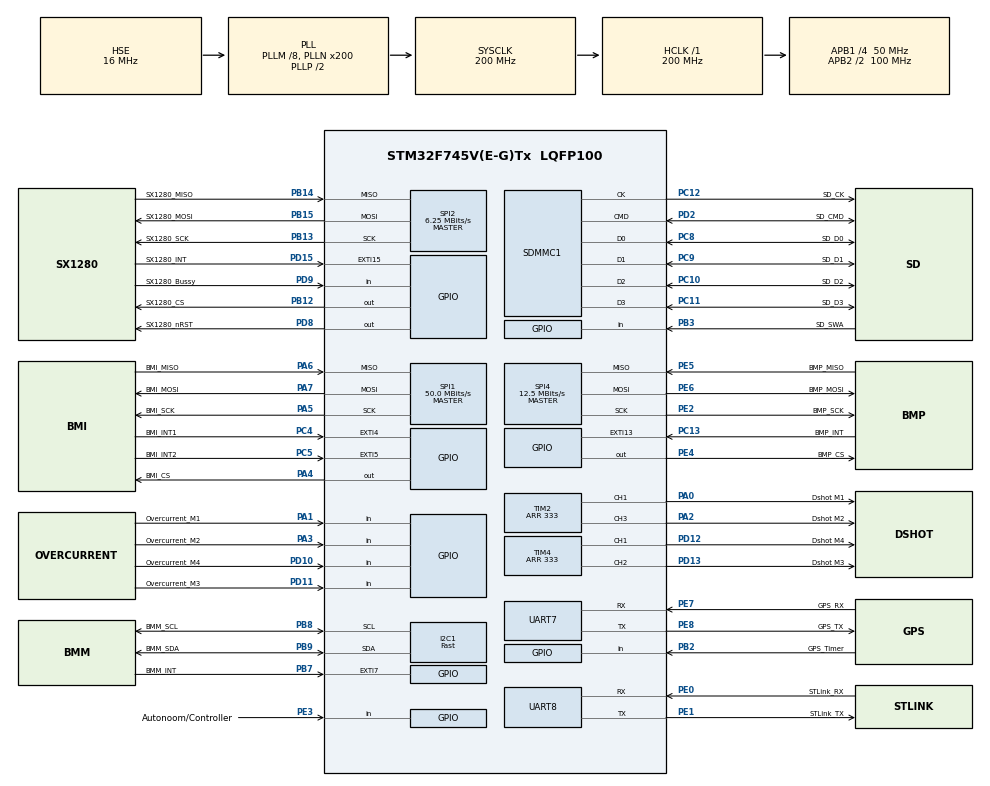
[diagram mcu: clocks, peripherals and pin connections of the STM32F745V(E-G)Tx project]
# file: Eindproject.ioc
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CORTEX_M7.default_mode_Activation=1
Dma.Request0=TIM4_CH1
Dma.Request1=TIM4_CH2
Dma.Request2=TIM2_UP/CH3
Dma.Request3=TIM2_CH1
Dma.TIM2_CH1.3.Direction=DMA_MEMORY_TO_PERIPH
Dma.TIM2_CH1.3.FIFOMode=DMA_FIFOMODE_DISABLE
Dma.TIM2_CH1.3.Instance=DMA1_Stream5
Dma.TIM2_CH1.3.MemDataAlignment=DMA_MDATAALIGN_WORD
Dma.TIM2_CH1.3.MemInc=DMA_MINC_ENABLE
Dma.TIM2_CH1.3.Mode=DMA_NORMAL
Dma.TIM2_CH1.3.PeriphDataAlignment=DMA_PDATAALIGN_WORD
Dma.TIM2_CH1.3.PeriphInc=DMA_PINC_DISABLE
Dma.TIM2_CH1.3.Priority=DMA_PRIORITY_VERY_HIGH
Dma.TIM2_UP/CH3.2.Direction=DMA_MEMORY_TO_PERIPH
Dma.TIM2_UP/CH3.2.FIFOMode=DMA_FIFOMODE_DISABLE
Dma.TIM2_UP/CH3.2.Instance=DMA1_Stream1
Dma.TIM2_UP/CH3.2.MemDataAlignment=DMA_MDATAALIGN_WORD
Dma.TIM2_UP/CH3.2.MemInc=DMA_MINC_ENABLE
Dma.TIM2_UP/CH3.2.Mode=DMA_NORMAL
Dma.TIM2_UP/CH3.2.PeriphDataAlignment=DMA_PDATAALIGN_WORD
Dma.TIM2_UP/CH3.2.PeriphInc=DMA_PINC_DISABLE
Dma.TIM2_UP/CH3.2.Priority=DMA_PRIORITY_VERY_HIGH
Dma.TIM4_CH1.0.Direction=DMA_MEMORY_TO_PERIPH
Dma.TIM4_CH1.0.FIFOMode=DMA_FIFOMODE_DISABLE
Dma.TIM4_CH1.0.Instance=DMA1_Stream0
Dma.TIM4_CH1.0.MemDataAlignment=DMA_MDATAALIGN_HALFWORD
Dma.TIM4_CH1.0.MemInc=DMA_MINC_ENABLE
Dma.TIM4_CH1.0.Mode=DMA_NORMAL
Dma.TIM4_CH1.0.PeriphDataAlignment=DMA_PDATAALIGN_HALFWORD
Dma.TIM4_CH1.0.PeriphInc=DMA_PINC_DISABLE
Dma.TIM4_CH1.0.Priority=DMA_PRIORITY_VERY_HIGH
Dma.TIM4_CH2.1.Direction=DMA_MEMORY_TO_PERIPH
Dma.TIM4_CH2.1.FIFOMode=DMA_FIFOMODE_DISABLE
Dma.TIM4_CH2.1.Instance=DMA1_Stream3
Dma.TIM4_CH2.1.MemDataAlignment=DMA_MDATAALIGN_HALFWORD
Dma.TIM4_CH2.1.MemInc=DMA_MINC_ENABLE
Dma.TIM4_CH2.1.Mode=DMA_NORMAL
Dma.TIM4_CH2.1.PeriphDataAlignment=DMA_PDATAALIGN_HALFWORD
Dma.TIM4_CH2.1.PeriphInc=DMA_PINC_DISABLE
Dma.TIM4_CH2.1.Priority=DMA_PRIORITY_VERY_HIGH
FATFS.BSP.number=1
FATFS0.BSP.STBoard=false
FATFS0.BSP.api=Unknown
FATFS0.BSP.instance=PB3
FATFS0.BSP.ip=GPIO
FATFS0.BSP.mode=Input
FATFS0.BSP.name=Detect_SDIO
FATFS0.BSP.solution=PB3
I2C1.I2C_Speed_Mode=I2C_Fast
I2C1.Timing=0x00401959
Mcu.Family=STM32F7
Mcu.Name=STM32F745V(E-G)Tx
Mcu.Package=LQFP100
NVIC.DMA1_Stream0_IRQn=true\:0\:0\:false\:false\:true\:false\:true\:true
NVIC.DMA1_Stream1_IRQn=true\:0\:0\:false\:false\:true\:false\:true\:true
NVIC.DMA1_Stream3_IRQn=true\:0\:0\:false\:false\:true\:false\:true\:true
NVIC.DMA1_Stream5_IRQn=true\:0\:0\:false\:false\:true\:false\:true\:true
NVIC.EXTI15_10_IRQn=true\:0\:0\:false\:false\:true\:true\:true\:true
NVIC.EXTI4_IRQn=true\:3\:0\:true\:false\:true\:true\:true\:true
NVIC.EXTI9_5_IRQn=true\:3\:0\:true\:false\:true\:true\:true\:true
NVIC.PriorityGroup=NVIC_PRIORITYGROUP_4
PA0/WKUP.GPIO_Label=Dshot M1
PA0/WKUP.Signal=S_TIM2_CH1_ETR
PA1.GPIO_Label=Overcurrent_M1
PA1.Signal=GPIO_Input
PA13.GPIO_Label=STLink_DIO
PA13.Mode=Serial_Wire
PA13.Signal=SYS_JTMS-SWDIO
PA14.GPIO_Label=STLink_CLK
PA14.Mode=Serial_Wire
PA14.Signal=SYS_JTCK-SWCLK
PA2.GPIO_Label=Dshot M2
PA2.Signal=S_TIM2_CH3
PA3.GPIO_Label=Overcurrent_M2
PA3.Signal=GPIO_Input
PA4.GPIO_Label=BMI_CS
PA4.Signal=GPIO_Output
PA5.GPIO_Label=BMI_SCK
PA5.Mode=Full_Duplex_Master
PA5.Signal=SPI1_SCK
PA6.GPIO_Label=BMI_MISO
PA6.Mode=Full_Duplex_Master
PA6.Signal=SPI1_MISO
PA7.GPIO_Label=BMI_MOSI
PA7.Mode=Full_Duplex_Master
PA7.Signal=SPI1_MOSI
PB12.GPIO_Label=SX1280_CS
PB12.Signal=GPIO_Output
PB13.GPIO_Label=SX1280_SCK
PB13.Mode=Full_Duplex_Master
PB13.Signal=SPI2_SCK
PB14.GPIO_Label=SX1280_MISO
PB14.Mode=Full_Duplex_Master
PB14.Signal=SPI2_MISO
PB15.GPIO_Label=SX1280_MOSI
PB15.Mode=Full_Duplex_Master
PB15.Signal=SPI2_MOSI
PB2.GPIO_Label=GPS_Timer
PB2.Signal=GPIO_Input
PB3.GPIO_Label=SD_SWA
PB3.Signal=GPIO_Input
PB7.GPIO_Label=BMM_INT
PB7.Signal=GPXTI7
PB8.GPIO_Label=BMM_SCL
PB8.Mode=I2C
PB8.Signal=I2C1_SCL
PB9.GPIO_Label=BMM_SDA
PB9.Mode=I2C
PB9.Signal=I2C1_SDA
PC10.GPIO_Label=SD_D2
PC10.Mode=SD_4_bits_Wide_bus
PC10.Signal=SDMMC1_D2
PC11.GPIO_Label=SD_D3
PC11.Mode=SD_4_bits_Wide_bus
PC11.Signal=SDMMC1_D3
PC12.GPIO_Label=SD_CK
PC12.Mode=SD_4_bits_Wide_bus
PC12.Signal=SDMMC1_CK
PC13.GPIO_Label=BMP_INT
PC13.Signal=GPXTI13
PC4.GPIO_Label=BMI_INT1
PC4.Signal=GPXTI4
PC5.GPIO_Label=BMI_INT2
PC5.Signal=GPXTI5
PC8.GPIO_Label=SD_D0
PC8.Mode=SD_4_bits_Wide_bus
PC8.Signal=SDMMC1_D0
PC9.GPIO_Label=SD_D1
PC9.Mode=SD_4_bits_Wide_bus
PC9.Signal=SDMMC1_D1
PD10.GPIO_Label=Overcurrent_M4
PD10.Signal=GPIO_Input
PD11.GPIO_Label=Overcurrent_M3
PD11.Signal=GPIO_Input
PD12.GPIO_Label=Dshot M4
PD12.Signal=S_TIM4_CH1
PD13.GPIO_Label=Dshot M3
PD13.Signal=S_TIM4_CH2
PD15.GPIO_Label=SX1280_INT
PD15.Signal=GPXTI15
PD2.GPIO_Label=SD_CMD
PD2.Mode=SD_4_bits_Wide_bus
PD2.Signal=SDMMC1_CMD
PD8.GPIO_Label=SX1280_nRST
PD8.Signal=GPIO_Output
PD9.GPIO_Label=SX1280_Bussy
PD9.Signal=GPIO_Input
PE0.GPIO_Label=STLink_RX
PE0.Mode=Asynchronous
PE0.Signal=UART8_RX
PE1.GPIO_Label=STLink_TX
PE1.Mode=Asynchronous
PE1.Signal=UART8_TX
PE2.GPIO_Label=BMP_SCK
PE2.Mode=Full_Duplex_Master
PE2.Signal=SPI4_SCK
PE3.GPIO_Label=Autonoom/Controller
PE3.Signal=GPIO_Input
PE4.GPIO_Label=BMP_CS
PE4.Signal=GPIO_Output
PE5.GPIO_Label=BMP_MISO
PE5.Mode=Full_Duplex_Master
PE5.Signal=SPI4_MISO
PE6.GPIO_Label=BMP_MOSI
PE6.Mode=Full_Duplex_Master
PE6.Signal=SPI4_MOSI
PE7.GPIO_Label=GPS_RX
PE7.Mode=Asynchronous
PE7.Signal=UART7_RX
PE8.GPIO_Label=GPS_TX
PE8.Mode=Asynchronous
PE8.Signal=UART7_TX
PH0/OSC_IN.Mode=HSE-External-Oscillator
PH0/OSC_IN.Signal=RCC_OSC_IN
PH1/OSC_OUT.Mode=HSE-External-Oscillator
PH1/OSC_OUT.Signal=RCC_OSC_OUT
ProjectManager.HeapSize=0x200
ProjectManager.StackSize=0x400
ProjectManager.TargetToolchain=STM32CubeIDE
RCC.AHBFreq_Value=200000000
RCC.APB1CLKDivider=RCC_HCLK_DIV4
RCC.APB1Freq_Value=50000000
RCC.APB1TimFreq_Value=100000000
RCC.APB2CLKDivider=RCC_HCLK_DIV2
RCC.APB2Freq_Value=100000000
RCC.APB2TimFreq_Value=200000000
RCC.CortexFreq_Value=200000000
RCC.HCLKFreq_Value=200000000
RCC.HSE_VALUE=16000000
RCC.HSI_VALUE=16000000
RCC.LSE_VALUE=32768
RCC.PLLM=8
RCC.PLLN=200
RCC.PLLQ=8
RCC.PLLSourceVirtual=RCC_PLLSOURCE_HSE
RCC.SDMMCClockSelection=RCC_SDMMC1CLKSOURCE_CLK48
RCC.SYSCLKFreq_VALUE=200000000
RCC.SYSCLKSource=RCC_SYSCLKSOURCE_PLLCLK
RCC.USBFreq_Value=50000000
RCC.VCOOutputFreq_Value=400000000
SDMMC1.ClockBypass=SDMMC_CLOCK_BYPASS_DISABLE
SH.S_TIM2_CH1_ETR.0=TIM2_CH1,PWM Generation1 CH1
SH.S_TIM2_CH3.0=TIM2_CH3,PWM Generation3 CH3
SH.S_TIM4_CH1.0=TIM4_CH1,PWM Generation1 CH1
SH.S_TIM4_CH2.0=TIM4_CH2,PWM Generation2 CH2
SPI1.CLKPhase=SPI_PHASE_2EDGE
SPI1.CLKPolarity=SPI_POLARITY_HIGH
SPI1.CalculateBaudRate=50.0 MBits/s
SPI1.DataSize=SPI_DATASIZE_8BIT
SPI1.Direction=SPI_DIRECTION_2LINES
SPI1.Mode=SPI_MODE_MASTER
SPI1.VirtualType=VM_MASTER
SPI2.BaudRatePrescaler=SPI_BAUDRATEPRESCALER_8
SPI2.CalculateBaudRate=6.25 MBits/s
SPI2.DataSize=SPI_DATASIZE_8BIT
SPI2.Direction=SPI_DIRECTION_2LINES
SPI2.Mode=SPI_MODE_MASTER
SPI2.NSSPMode=SPI_NSS_PULSE_DISABLE
SPI2.VirtualType=VM_MASTER
SPI4.BaudRatePrescaler=SPI_BAUDRATEPRESCALER_8
SPI4.CLKPhase=SPI_PHASE_1EDGE
SPI4.CLKPolarity=SPI_POLARITY_LOW
SPI4.CalculateBaudRate=12.5 MBits/s
SPI4.DataSize=SPI_DATASIZE_8BIT
SPI4.Direction=SPI_DIRECTION_2LINES
SPI4.Mode=SPI_MODE_MASTER
SPI4.VirtualType=VM_MASTER
TIM2.Channel-PWM\ Generation1\ CH1=TIM_CHANNEL_1
TIM2.Channel-PWM\ Generation3\ CH3=TIM_CHANNEL_3
TIM2.Period=333
TIM4.Channel-PWM\ Generation1\ CH1=TIM_CHANNEL_1
TIM4.Channel-PWM\ Generation2\ CH2=TIM_CHANNEL_2
TIM4.Period=333
VP_FATFS_VS_SDIO.Mode=SDIO
VP_TIM2_VS_ClockSourceINT.Mode=Internal
VP_TIM4_VS_ClockSourceINT.Mode=Internal
board=custom

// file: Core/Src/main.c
/* USER CODE BEGIN Header */
/**
  ******************************************************************************
  * @file           : main.c
  * @brief          : Main program body
  ******************************************************************************
  * @attention
  *
  * Copyright (c) 2026 STMicroelectronics.
  * All rights reserved.
  *
  * This software is licensed under terms that can be found in the LICENSE file
  * in the root directory of this software component.
  * If no LICENSE file comes with this software, it is provided AS-IS.
  *
  ******************************************************************************
  */
/* USER CODE END Header */
#include "main.h"
#include "fatfs.h"

/* USER CODE BEGIN Includes */
#include "BMI330.h"
#include "Dshot.h"
#include "RC_Math.h"
#include "sx1280.h"
/* USER CODE END Includes */

I2C_HandleTypeDef hi2c1;

SD_HandleTypeDef hsd1;

SPI_HandleTypeDef hspi1;
SPI_HandleTypeDef hspi2;
SPI_HandleTypeDef hspi4;

TIM_HandleTypeDef htim2;
TIM_HandleTypeDef htim4;
DMA_HandleTypeDef hdma_tim2_up_ch3;
DMA_HandleTypeDef hdma_tim2_ch1;
DMA_HandleTypeDef hdma_tim4_ch1;
DMA_HandleTypeDef hdma_tim4_ch2;

UART_HandleTypeDef huart7;
UART_HandleTypeDef huart8;

/* USER CODE BEGIN PV */
PID_Controller pid_roll;
PID_Controller pid_pitch;
PID_Controller pid_yaw;

BMI330_Frame current_data;
float bmi_roll = 0.0f;
float bmi_pitch = 0.0f;

// Loop Timing variabelen
uint32_t previous_micros = 0;
// De 'volatile' tag is cruciaal! Dit vertelt de processor dat deze variabele
// plotseling kan veranderen buiten de hoofdlus om (namelijk door een interrupt).
volatile uint8_t gyro_data_ready = 0;
/* USER CODE END PV */

void SystemClock_Config(void);
static void MPU_Config(void);
static void MX_GPIO_Init(void);
static void MX_DMA_Init(void);
static void MX_I2C1_Init(void);
static void MX_SDMMC1_SD_Init(void);
static void MX_SPI1_Init(void);
static void MX_SPI2_Init(void);
static void MX_SPI4_Init(void);
static void MX_TIM2_Init(void);
static void MX_TIM4_Init(void);
static void MX_UART7_Init(void);
static void MX_UART8_Init(void);

/* USER CODE BEGIN 0 */

int new_gyro_data_available = 0;
/* USER CODE END 0 */

int main(void)
{

  /* MPU Configuration--------------------------------------------------------*/
  MPU_Config();

  /* MCU Configuration--------------------------------------------------------*/

  /* Reset of all peripherals, Initializes the Flash interface and the Systick. */
  HAL_Init();

  /* USER CODE BEGIN Init */

  //Init_RateLoops();
  //BMM350_Init();
  //BMP384_Init();
  //PID_HandleInit(struct_PidRateRoll);
  //PID_HandleInit(struct_PidRatePitch);
  //PID_HandleInit(struct_PidRateYaw);

  /* USER CODE END Init */

  /* Configure the system clock */
  SystemClock_Config();

  /* Initialize all configured peripherals */
  MX_GPIO_Init();
  MX_DMA_Init();
  MX_I2C1_Init();
  MX_SDMMC1_SD_Init();
  MX_SPI1_Init();
  MX_SPI2_Init();
  MX_SPI4_Init();
  MX_TIM2_Init();
  MX_TIM4_Init();
  MX_UART7_Init();
  MX_FATFS_Init();
  MX_UART8_Init();
  /* USER CODE BEGIN 2 */
  BMI330_Init();
  SX1280_Init();
  SX1280_SetRx();

  // zet meteen al de motors stil
  update_motor_buffer(0, 48, 0);
  update_motor_buffer(1, 48, 0);
  update_motor_buffer(2, 48, 0);
  update_motor_buffer(3, 48, 0);
  send_dshot();
  HAL_Delay(2000);

  CoreDebug->DEMCR |= CoreDebug_DEMCR_TRCENA_Msk;
  DWT->CYCCNT = 0;
  DWT->CTRL |= DWT_CTRL_CYCCNTENA_Msk;
  previous_micros = DWT->CYCCNT / 200;

  // Init_PID(pointer, P, I, D, I_Limit, Output_Limit)
  // Een Output limit van 400.0 zorgt dat een as maximaal ~20% van de motorcapaciteit kan stelen
  PID_Init(&pid_roll,  1.2f, 0.05f, 15.0f, 200.0f, 400.0f);
  PID_Init(&pid_pitch, 1.2f, 0.05f, 15.0f, 200.0f, 400.0f);
  PID_Init(&pid_yaw,   2.0f, 0.1f,   0.0f, 200.0f, 400.0f);
  /* USER CODE END 2 */

  /* Infinite loop */
  /* USER CODE BEGIN WHILE */
  while (1)
  {
	  if (gyro_data_ready == 1)
	  {
		  // Zet direct het vlaggetje weer naar beneden
		  gyro_data_ready = 0;

		  // --- TIMING BEREKENEN ---
		  uint32_t current_micros = DWT->CYCCNT / 200;
		  // Bereken de exacte delta-tijd in seconden (bijv. 0.001005s)
		  float dt = (float)(current_micros - previous_micros) / 1000000.0f;
		  previous_micros = current_micros;

		  // --- STAP 1: SENSOR UPDATE ---
		  // Haal onmiddellijk de data op
		  BMI330_Update(&current_data, &bmi_roll, &bmi_pitch);

		  // --- STAP 2: DOELEN BEREKENEN ---
		  Calculate_Target_Rates();

		  // --- STAP 3: PID LOOP ---
		  // We sturen nu de exact gemeten 'dt' mee in plaats van de vaste gok
		  Calculate_PID(&pid_roll,  target_rate_roll,  current_data.gyr_x, dt);
		  Calculate_PID(&pid_pitch, target_rate_pitch, current_data.gyr_y, dt);
		  Calculate_PID(&pid_yaw,   target_rate_yaw,   current_data.gyr_z, dt);

		  // --- STAP 4: MOTOR MIXER ---
		  if (target_throttle <= 48) {
			  update_motor_buffer(0, 48, 0); update_motor_buffer(1, 48, 0);
			  update_motor_buffer(2, 48, 0); update_motor_buffer(3, 48, 0);
		  } else {
			  int16_t m1 = target_throttle - pid_roll.output + pid_pitch.output - pid_yaw.output;
			  int16_t m2 = target_throttle - pid_roll.output - pid_pitch.output + pid_yaw.output;
			  int16_t m3 = target_throttle + pid_roll.output + pid_pitch.output + pid_yaw.output;
			  int16_t m4 = target_throttle + pid_roll.output - pid_pitch.output - pid_yaw.output;

			  update_motor_buffer(0, m1, 0); update_motor_buffer(1, m2, 0);
			  update_motor_buffer(2, m3, 0); update_motor_buffer(3, m4, 0);
		  }

		  // --- STAP 5: VERSTUUR DSHOT ---
		  send_dshot();
	  }
    /* USER CODE END WHILE */

  }
}

void SystemClock_Config(void)
{
  RCC_OscInitTypeDef RCC_OscInitStruct = {0};
  RCC_ClkInitTypeDef RCC_ClkInitStruct = {0};

  /** Configure the main internal regulator output voltage
  */
  __HAL_RCC_PWR_CLK_ENABLE();
  __HAL_PWR_VOLTAGESCALING_CONFIG(PWR_REGULATOR_VOLTAGE_SCALE1);

  /** Initializes the RCC Oscillators according to the specified parameters
  * in the RCC_OscInitTypeDef structure.
  */
  RCC_OscInitStruct.OscillatorType = RCC_OSCILLATORTYPE_HSE;
  RCC_OscInitStruct.HSEState = RCC_HSE_ON;
  RCC_OscInitStruct.PLL.PLLState = RCC_PLL_ON;
  RCC_OscInitStruct.PLL.PLLSource = RCC_PLLSOURCE_HSE;
  RCC_OscInitStruct.PLL.PLLM = 8;
  RCC_OscInitStruct.PLL.PLLN = 200;
  RCC_OscInitStruct.PLL.PLLP = RCC_PLLP_DIV2;
  RCC_OscInitStruct.PLL.PLLQ = 8;
  if (HAL_RCC_OscConfig(&RCC_OscInitStruct) != HAL_OK)
  {
    Error_Handler();
  }

  /** Activate the Over-Drive mode
  */
  if (HAL_PWREx_EnableOverDrive() != HAL_OK)
  {
    Error_Handler();
  }

  /** Initializes the CPU, AHB and APB buses clocks
  */
  RCC_ClkInitStruct.ClockType = RCC_CLOCKTYPE_HCLK|RCC_CLOCKTYPE_SYSCLK
                              |RCC_CLOCKTYPE_PCLK1|RCC_CLOCKTYPE_PCLK2;
  RCC_ClkInitStruct.SYSCLKSource = RCC_SYSCLKSOURCE_PLLCLK;
  RCC_ClkInitStruct.AHBCLKDivider = RCC_SYSCLK_DIV1;
  RCC_ClkInitStruct.APB1CLKDivider = RCC_HCLK_DIV4;
  RCC_ClkInitStruct.APB2CLKDivider = RCC_HCLK_DIV2;

  if (HAL_RCC_ClockConfig(&RCC_ClkInitStruct, FLASH_LATENCY_6) != HAL_OK)
  {
    Error_Handler();
  }
}

static void MX_I2C1_Init(void)
{

  hi2c1.Instance = I2C1;
  hi2c1.Init.Timing = 0x00401959;
  hi2c1.Init.OwnAddress1 = 0;
  hi2c1.Init.AddressingMode = I2C_ADDRESSINGMODE_7BIT;
  hi2c1.Init.DualAddressMode = I2C_DUALADDRESS_DISABLE;
  hi2c1.Init.OwnAddress2 = 0;
  hi2c1.Init.OwnAddress2Masks = I2C_OA2_NOMASK;
  hi2c1.Init.GeneralCallMode = I2C_GENERALCALL_DISABLE;
  hi2c1.Init.NoStretchMode = I2C_NOSTRETCH_DISABLE;
  if (HAL_I2C_Init(&hi2c1) != HAL_OK)
  {
    Error_Handler();
  }

  /** Configure Analogue filter
  */
  if (HAL_I2CEx_ConfigAnalogFilter(&hi2c1, I2C_ANALOGFILTER_ENABLE) != HAL_OK)
  {
    Error_Handler();
  }

  /** Configure Digital filter
  */
  if (HAL_I2CEx_ConfigDigitalFilter(&hi2c1, 0) != HAL_OK)
  {
    Error_Handler();
  }

}

static void MX_SDMMC1_SD_Init(void)
{

  hsd1.Instance = SDMMC1;
  hsd1.Init.ClockEdge = SDMMC_CLOCK_EDGE_RISING;
  hsd1.Init.ClockBypass = SDMMC_CLOCK_BYPASS_DISABLE;
  hsd1.Init.ClockPowerSave = SDMMC_CLOCK_POWER_SAVE_DISABLE;
  hsd1.Init.BusWide = SDMMC_BUS_WIDE_1B;
  hsd1.Init.HardwareFlowControl = SDMMC_HARDWARE_FLOW_CONTROL_DISABLE;
  hsd1.Init.ClockDiv = 0;

}

static void MX_SPI1_Init(void)
{

  /* SPI1 parameter configuration*/
  hspi1.Instance = SPI1;
  hspi1.Init.Mode = SPI_MODE_MASTER;
  hspi1.Init.Direction = SPI_DIRECTION_2LINES;
  hspi1.Init.DataSize = SPI_DATASIZE_8BIT;
  hspi1.Init.CLKPolarity = SPI_POLARITY_HIGH;
  hspi1.Init.CLKPhase = SPI_PHASE_2EDGE;
  hspi1.Init.NSS = SPI_NSS_SOFT;
  hspi1.Init.BaudRatePrescaler = SPI_BAUDRATEPRESCALER_2;
  hspi1.Init.FirstBit = SPI_FIRSTBIT_MSB;
  hspi1.Init.TIMode = SPI_TIMODE_DISABLE;
  hspi1.Init.CRCCalculation = SPI_CRCCALCULATION_DISABLE;
  hspi1.Init.CRCPolynomial = 7;
  hspi1.Init.CRCLength = SPI_CRC_LENGTH_DATASIZE;
  hspi1.Init.NSSPMode = SPI_NSS_PULSE_DISABLE;
  if (HAL_SPI_Init(&hspi1) != HAL_OK)
  {
    Error_Handler();
  }

}

static void MX_SPI2_Init(void)
{

  /* SPI2 parameter configuration*/
  hspi2.Instance = SPI2;
  hspi2.Init.Mode = SPI_MODE_MASTER;
  hspi2.Init.Direction = SPI_DIRECTION_2LINES;
  hspi2.Init.DataSize = SPI_DATASIZE_8BIT;
  hspi2.Init.CLKPolarity = SPI_POLARITY_LOW;
  hspi2.Init.CLKPhase = SPI_PHASE_1EDGE;
  hspi2.Init.NSS = SPI_NSS_SOFT;
  hspi2.Init.BaudRatePrescaler = SPI_BAUDRATEPRESCALER_8;
  hspi2.Init.FirstBit = SPI_FIRSTBIT_MSB;
  hspi2.Init.TIMode = SPI_TIMODE_DISABLE;
  hspi2.Init.CRCCalculation = SPI_CRCCALCULATION_DISABLE;
  hspi2.Init.CRCPolynomial = 7;
  hspi2.Init.CRCLength = SPI_CRC_LENGTH_DATASIZE;
  hspi2.Init.NSSPMode = SPI_NSS_PULSE_DISABLE;
  if (HAL_SPI_Init(&hspi2) != HAL_OK)
  {
    Error_Handler();
  }

}

static void MX_SPI4_Init(void)
{

  /* SPI4 parameter configuration*/
  hspi4.Instance = SPI4;
  hspi4.Init.Mode = SPI_MODE_MASTER;
  hspi4.Init.Direction = SPI_DIRECTION_2LINES;
  hspi4.Init.DataSize = SPI_DATASIZE_8BIT;
  hspi4.Init.CLKPolarity = SPI_POLARITY_LOW;
  hspi4.Init.CLKPhase = SPI_PHASE_1EDGE;
  hspi4.Init.NSS = SPI_NSS_SOFT;
  hspi4.Init.BaudRatePrescaler = SPI_BAUDRATEPRESCALER_8;
  hspi4.Init.FirstBit = SPI_FIRSTBIT_MSB;
  hspi4.Init.TIMode = SPI_TIMODE_DISABLE;
  hspi4.Init.CRCCalculation = SPI_CRCCALCULATION_DISABLE;
  hspi4.Init.CRCPolynomial = 7;
  hspi4.Init.CRCLength = SPI_CRC_LENGTH_DATASIZE;
  hspi4.Init.NSSPMode = SPI_NSS_PULSE_ENABLE;
  if (HAL_SPI_Init(&hspi4) != HAL_OK)
  {
    Error_Handler();
  }

}

static void MX_TIM2_Init(void)
{

  TIM_ClockConfigTypeDef sClockSourceConfig = {0};
  TIM_MasterConfigTypeDef sMasterConfig = {0};
  TIM_OC_InitTypeDef sConfigOC = {0};

  htim2.Instance = TIM2;
  htim2.Init.Prescaler = 0;
  htim2.Init.CounterMode = TIM_COUNTERMODE_UP;
  htim2.Init.Period = 333;
  htim2.Init.ClockDivision = TIM_CLOCKDIVISION_DIV1;
  htim2.Init.AutoReloadPreload = TIM_AUTORELOAD_PRELOAD_DISABLE;
  if (HAL_TIM_Base_Init(&htim2) != HAL_OK)
  {
    Error_Handler();
  }
  sClockSourceConfig.ClockSource = TIM_CLOCKSOURCE_INTERNAL;
  if (HAL_TIM_ConfigClockSource(&htim2, &sClockSourceConfig) != HAL_OK)
  {
    Error_Handler();
  }
  if (HAL_TIM_PWM_Init(&htim2) != HAL_OK)
  {
    Error_Handler();
  }
  sMasterConfig.MasterOutputTrigger = TIM_TRGO_RESET;
  sMasterConfig.MasterSlaveMode = TIM_MASTERSLAVEMODE_DISABLE;
  if (HAL_TIMEx_MasterConfigSynchronization(&htim2, &sMasterConfig) != HAL_OK)
  {
    Error_Handler();
  }
  sConfigOC.OCMode = TIM_OCMODE_PWM1;
  sConfigOC.Pulse = 0;
  sConfigOC.OCPolarity = TIM_OCPOLARITY_HIGH;
  sConfigOC.OCFastMode = TIM_OCFAST_DISABLE;
  if (HAL_TIM_PWM_ConfigChannel(&htim2, &sConfigOC, TIM_CHANNEL_1) != HAL_OK)
  {
    Error_Handler();
  }
  if (HAL_TIM_PWM_ConfigChannel(&htim2, &sConfigOC, TIM_CHANNEL_3) != HAL_OK)
  {
    Error_Handler();
  }
  HAL_TIM_MspPostInit(&htim2);

}

static void MX_TIM4_Init(void)
{

  TIM_ClockConfigTypeDef sClockSourceConfig = {0};
  TIM_MasterConfigTypeDef sMasterConfig = {0};
  TIM_OC_InitTypeDef sConfigOC = {0};

  htim4.Instance = TIM4;
  htim4.Init.Prescaler = 0;
  htim4.Init.CounterMode = TIM_COUNTERMODE_UP;
  htim4.Init.Period = 333;
  htim4.Init.ClockDivision = TIM_CLOCKDIVISION_DIV1;
  htim4.Init.AutoReloadPreload = TIM_AUTORELOAD_PRELOAD_DISABLE;
  if (HAL_TIM_Base_Init(&htim4) != HAL_OK)
  {
    Error_Handler();
  }
  sClockSourceConfig.ClockSource = TIM_CLOCKSOURCE_INTERNAL;
  if (HAL_TIM_ConfigClockSource(&htim4, &sClockSourceConfig) != HAL_OK)
  {
    Error_Handler();
  }
  if (HAL_TIM_PWM_Init(&htim4) != HAL_OK)
  {
    Error_Handler();
  }
  sMasterConfig.MasterOutputTrigger = TIM_TRGO_RESET;
  sMasterConfig.MasterSlaveMode = TIM_MASTERSLAVEMODE_DISABLE;
  if (HAL_TIMEx_MasterConfigSynchronization(&htim4, &sMasterConfig) != HAL_OK)
  {
    Error_Handler();
  }
  sConfigOC.OCMode = TIM_OCMODE_PWM1;
  sConfigOC.Pulse = 0;
  sConfigOC.OCPolarity = TIM_OCPOLARITY_HIGH;
  sConfigOC.OCFastMode = TIM_OCFAST_DISABLE;
  if (HAL_TIM_PWM_ConfigChannel(&htim4, &sConfigOC, TIM_CHANNEL_1) != HAL_OK)
  {
    Error_Handler();
  }
  if (HAL_TIM_PWM_ConfigChannel(&htim4, &sConfigOC, TIM_CHANNEL_2) != HAL_OK)
  {
    Error_Handler();
  }
  HAL_TIM_MspPostInit(&htim4);

}

static void MX_UART7_Init(void)
{

  huart7.Instance = UART7;
  huart7.Init.BaudRate = 115200;
  huart7.Init.WordLength = UART_WORDLENGTH_8B;
  huart7.Init.StopBits = UART_STOPBITS_1;
  huart7.Init.Parity = UART_PARITY_NONE;
  huart7.Init.Mode = UART_MODE_TX_RX;
  huart7.Init.HwFlowCtl = UART_HWCONTROL_NONE;
  huart7.Init.OverSampling = UART_OVERSAMPLING_16;
  huart7.Init.OneBitSampling = UART_ONE_BIT_SAMPLE_DISABLE;
  huart7.AdvancedInit.AdvFeatureInit = UART_ADVFEATURE_NO_INIT;
  if (HAL_UART_Init(&huart7) != HAL_OK)
  {
    Error_Handler();
  }

}

static void MX_UART8_Init(void)
{

  huart8.Instance = UART8;
  huart8.Init.BaudRate = 115200;
  huart8.Init.WordLength = UART_WORDLENGTH_8B;
  huart8.Init.StopBits = UART_STOPBITS_1;
  huart8.Init.Parity = UART_PARITY_NONE;
  huart8.Init.Mode = UART_MODE_TX_RX;
  huart8.Init.HwFlowCtl = UART_HWCONTROL_NONE;
  huart8.Init.OverSampling = UART_OVERSAMPLING_16;
  huart8.Init.OneBitSampling = UART_ONE_BIT_SAMPLE_DISABLE;
  huart8.AdvancedInit.AdvFeatureInit = UART_ADVFEATURE_NO_INIT;
  if (HAL_UART_Init(&huart8) != HAL_OK)
  {
    Error_Handler();
  }

}

static void MX_DMA_Init(void)
{

  /* DMA controller clock enable */
  __HAL_RCC_DMA1_CLK_ENABLE();

  /* DMA interrupt init */
  /* DMA1_Stream0_IRQn interrupt configuration */
  HAL_NVIC_SetPriority(DMA1_Stream0_IRQn, 0, 0);
  HAL_NVIC_EnableIRQ(DMA1_Stream0_IRQn);
  /* DMA1_Stream1_IRQn interrupt configuration */
  HAL_NVIC_SetPriority(DMA1_Stream1_IRQn, 0, 0);
  HAL_NVIC_EnableIRQ(DMA1_Stream1_IRQn);
  /* DMA1_Stream3_IRQn interrupt configuration */
  HAL_NVIC_SetPriority(DMA1_Stream3_IRQn, 0, 0);
  HAL_NVIC_EnableIRQ(DMA1_Stream3_IRQn);
  /* DMA1_Stream5_IRQn interrupt configuration */
  HAL_NVIC_SetPriority(DMA1_Stream5_IRQn, 0, 0);
  HAL_NVIC_EnableIRQ(DMA1_Stream5_IRQn);

}

static void MX_GPIO_Init(void)
{
  GPIO_InitTypeDef GPIO_InitStruct = {0};

  /* GPIO Ports Clock Enable */
  __HAL_RCC_GPIOE_CLK_ENABLE();
  __HAL_RCC_GPIOC_CLK_ENABLE();
  __HAL_RCC_GPIOH_CLK_ENABLE();
  __HAL_RCC_GPIOA_CLK_ENABLE();
  __HAL_RCC_GPIOB_CLK_ENABLE();
  __HAL_RCC_GPIOD_CLK_ENABLE();

  /*Configure GPIO pin Output Level */
  HAL_GPIO_WritePin(BMP_CS_GPIO_Port, BMP_CS_Pin, GPIO_PIN_RESET);

  /*Configure GPIO pin Output Level */
  HAL_GPIO_WritePin(BMI_CS_GPIO_Port, BMI_CS_Pin, GPIO_PIN_RESET);

  /*Configure GPIO pin Output Level */
  HAL_GPIO_WritePin(SX1280_CS_GPIO_Port, SX1280_CS_Pin, GPIO_PIN_RESET);

  /*Configure GPIO pin Output Level */
  HAL_GPIO_WritePin(SX1280_nRST_GPIO_Port, SX1280_nRST_Pin, GPIO_PIN_RESET);

  /*Configure GPIO pin : Autonoom_Controller_Pin */
  GPIO_InitStruct.Pin = Autonoom_Controller_Pin;
  GPIO_InitStruct.Mode = GPIO_MODE_INPUT;
  GPIO_InitStruct.Pull = GPIO_NOPULL;
  HAL_GPIO_Init(Autonoom_Controller_GPIO_Port, &GPIO_InitStruct);

  /*Configure GPIO pin : BMP_CS_Pin */
  GPIO_InitStruct.Pin = BMP_CS_Pin;
  GPIO_InitStruct.Mode = GPIO_MODE_OUTPUT_PP;
  GPIO_InitStruct.Pull = GPIO_NOPULL;
  GPIO_InitStruct.Speed = GPIO_SPEED_FREQ_LOW;
  HAL_GPIO_Init(BMP_CS_GPIO_Port, &GPIO_InitStruct);

  /*Configure GPIO pins : BMP_INT_Pin BMI_INT1_Pin BMI_INT2_Pin */
  GPIO_InitStruct.Pin = BMP_INT_Pin|BMI_INT1_Pin|BMI_INT2_Pin;
  GPIO_InitStruct.Mode = GPIO_MODE_IT_RISING;
  GPIO_InitStruct.Pull = GPIO_NOPULL;
  HAL_GPIO_Init(GPIOC, &GPIO_InitStruct);

  /*Configure GPIO pins : Overcurrent_M1_Pin Overcurrent_M2_Pin */
  GPIO_InitStruct.Pin = Overcurrent_M1_Pin|Overcurrent_M2_Pin;
  GPIO_InitStruct.Mode = GPIO_MODE_INPUT;
  GPIO_InitStruct.Pull = GPIO_NOPULL;
  HAL_GPIO_Init(GPIOA, &GPIO_InitStruct);

  /*Configure GPIO pin : BMI_CS_Pin */
  GPIO_InitStruct.Pin = BMI_CS_Pin;
  GPIO_InitStruct.Mode = GPIO_MODE_OUTPUT_PP;
  GPIO_InitStruct.Pull = GPIO_NOPULL;
  GPIO_InitStruct.Speed = GPIO_SPEED_FREQ_LOW;
  HAL_GPIO_Init(BMI_CS_GPIO_Port, &GPIO_InitStruct);

  /*Configure GPIO pins : GPS_Timer_Pin SD_SWA_Pin */
  GPIO_InitStruct.Pin = GPS_Timer_Pin|SD_SWA_Pin;
  GPIO_InitStruct.Mode = GPIO_MODE_INPUT;
  GPIO_InitStruct.Pull = GPIO_NOPULL;
  HAL_GPIO_Init(GPIOB, &GPIO_InitStruct);

  /*Configure GPIO pin : SX1280_CS_Pin */
  GPIO_InitStruct.Pin = SX1280_CS_Pin;
  GPIO_InitStruct.Mode = GPIO_MODE_OUTPUT_PP;
  GPIO_InitStruct.Pull = GPIO_NOPULL;
  GPIO_InitStruct.Speed = GPIO_SPEED_FREQ_LOW;
  HAL_GPIO_Init(SX1280_CS_GPIO_Port, &GPIO_InitStruct);

  /*Configure GPIO pin : SX1280_nRST_Pin */
  GPIO_InitStruct.Pin = SX1280_nRST_Pin;
  GPIO_InitStruct.Mode = GPIO_MODE_OUTPUT_PP;
  GPIO_InitStruct.Pull = GPIO_NOPULL;
  GPIO_InitStruct.Speed = GPIO_SPEED_FREQ_LOW;
  HAL_GPIO_Init(SX1280_nRST_GPIO_Port, &GPIO_InitStruct);

  /*Configure GPIO pins : SX1280_Bussy_Pin Overcurrent_M4_Pin Overcurrent_M3_Pin */
  GPIO_InitStruct.Pin = SX1280_Bussy_Pin|Overcurrent_M4_Pin|Overcurrent_M3_Pin;
  GPIO_InitStruct.Mode = GPIO_MODE_INPUT;
  GPIO_InitStruct.Pull = GPIO_NOPULL;
  HAL_GPIO_Init(GPIOD, &GPIO_InitStruct);

  /*Configure GPIO pin : SX1280_INT_Pin */
  GPIO_InitStruct.Pin = SX1280_INT_Pin;
  GPIO_InitStruct.Mode = GPIO_MODE_IT_RISING;
  GPIO_InitStruct.Pull = GPIO_NOPULL;
  HAL_GPIO_Init(SX1280_INT_GPIO_Port, &GPIO_InitStruct);

  /*Configure GPIO pin : BMM_INT_Pin */
  GPIO_InitStruct.Pin = BMM_INT_Pin;
  GPIO_InitStruct.Mode = GPIO_MODE_IT_RISING;
  GPIO_InitStruct.Pull = GPIO_NOPULL;
  HAL_GPIO_Init(BMM_INT_GPIO_Port, &GPIO_InitStruct);

  /* EXTI interrupt init*/
  HAL_NVIC_SetPriority(EXTI4_IRQn, 3, 0);
  HAL_NVIC_EnableIRQ(EXTI4_IRQn);

  HAL_NVIC_SetPriority(EXTI9_5_IRQn, 3, 0);
  HAL_NVIC_EnableIRQ(EXTI9_5_IRQn);

  HAL_NVIC_SetPriority(EXTI15_10_IRQn, 0, 0);
  HAL_NVIC_EnableIRQ(EXTI15_10_IRQn);

}

/* USER CODE BEGIN 4 */
/*
void Update_Motors(uint16_t throttle, int16_t roll, int16_t pitch, int16_t yaw) {
    int16_t m1 = throttle + pitch + roll - yaw; // Linksvoor
    int16_t m2 = throttle + pitch - roll + yaw; // Rechtsvoor
    int16_t m3 = throttle - pitch + roll + yaw; // Linksachter
    int16_t m4 = throttle - pitch - roll - yaw; // Rechtsachter
}
*/
void HAL_GPIO_EXTI_Callback(uint16_t GPIO_Pin)
{

	if (GPIO_Pin == SX1280_INT_PIN) {
        ELRS_HandleRxInterrupt();
    }

    if (GPIO_Pin == BMI_INT1_Pin)
    {
    	gyro_data_ready = 1;
    }

    if (GPIO_Pin == GPIO_PIN_5)
    {

    }
}

/* USER CODE END 4 */

 /* MPU Configuration */

void MPU_Config(void)
{
  MPU_Region_InitTypeDef MPU_InitStruct = {0};

  /* Disables the MPU */
  HAL_MPU_Disable();

  /** Initializes and configures the Region and the memory to be protected
  */
  MPU_InitStruct.Enable = MPU_REGION_ENABLE;
  MPU_InitStruct.Number = MPU_REGION_NUMBER0;
  MPU_InitStruct.BaseAddress = 0x0;
  MPU_InitStruct.Size = MPU_REGION_SIZE_4GB;
  MPU_InitStruct.SubRegionDisable = 0x87;
  MPU_InitStruct.TypeExtField = MPU_TEX_LEVEL0;
  MPU_InitStruct.AccessPermission = MPU_REGION_NO_ACCESS;
  MPU_InitStruct.DisableExec = MPU_INSTRUCTION_ACCESS_DISABLE;
  MPU_InitStruct.IsShareable = MPU_ACCESS_SHAREABLE;
  MPU_InitStruct.IsCacheable = MPU_ACCESS_NOT_CACHEABLE;
  MPU_InitStruct.IsBufferable = MPU_ACCESS_NOT_BUFFERABLE;

  HAL_MPU_ConfigRegion(&MPU_InitStruct);
  /* Enables the MPU */
  HAL_MPU_Enable(MPU_PRIVILEGED_DEFAULT);

}

void Error_Handler(void)
{
  __disable_irq();
  while (1)
  {
  }
}
